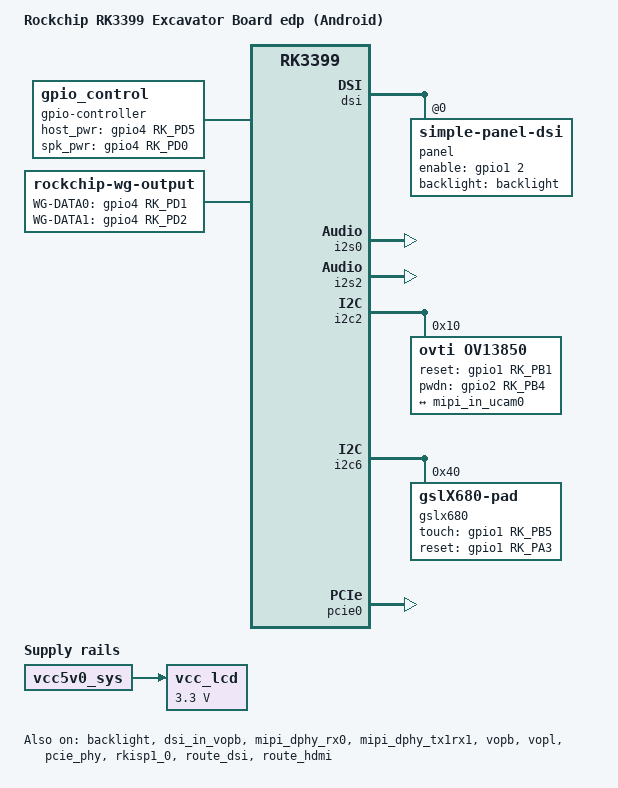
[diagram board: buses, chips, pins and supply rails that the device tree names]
/*
 * Copyright (c) 2018 Fuzhou Rockchip Electronics Co., Ltd
 *
 * This file is dual-licensed: you can use it either under the terms
 * of the GPL or the X11 license, at your option. Note that this dual
 * licensing only applies to this file, and not this project as a
 * whole.
 *
 *  a) This file is free software; you can redistribute it and/or
 *     modify it under the terms of the GNU General Public License as
 *     published by the Free Software Foundation; either version 2 of the
 *     License, or (at your option) any later version.
 *
 *     This file is distributed in the hope that it will be useful,
 *     but WITHOUT ANY WARRANTY; without even the implied warranty of
 *     MERCHANTABILITY or FITNESS FOR A PARTICULAR PURPOSE.  See the
 *     GNU General Public License for more details.
 *
 * Or, alternatively,
 *
 *  b) Permission is hereby granted, free of charge, to any person
 *     obtaining a copy of this software and associated documentation
 *     files (the "Software"), to deal in the Software without
 *     restriction, including without limitation the rights to use,
 *     copy, modify, merge, publish, distribute, sublicense, and/or
 *     sell copies of the Software, and to permit persons to whom the
 *     Software is furnished to do so, subject to the following
 *     conditions:
 *
 *     The above copyright notice and this permission notice shall be
 *     included in all copies or substantial portions of the Software.
 *
 *     THE SOFTWARE IS PROVIDED "AS IS", WITHOUT WARRANTY OF ANY KIND,
 *     EXPRESS OR IMPLIED, INCLUDING BUT NOT LIMITED TO THE WARRANTIES
 *     OF MERCHANTABILITY, FITNESS FOR A PARTICULAR PURPOSE AND
 *     NONINFRINGEMENT. IN NO EVENT SHALL THE AUTHORS OR COPYRIGHT
 *     HOLDERS BE LIABLE FOR ANY CLAIM, DAMAGES OR OTHER LIABILITY,
 *     WHETHER IN AN ACTION OF CONTRACT, TORT OR OTHERWISE, ARISING
 *     FROM, OUT OF OR IN CONNECTION WITH THE SOFTWARE OR THE USE OR
 *     OTHER DEALINGS IN THE SOFTWARE.
 */

/dts-v1/;

#include "rk3399-excavator-sapphire.dtsi"
#include "rk3399-android.dtsi"
#include "rk3399-vop-clk-set.dtsi"

/ {

	model = "Rockchip RK3399 Excavator Board edp (Android)";
	compatible = "rockchip,android", "rockchip,rk3399-excavator-edp", "rockchip,rk3399";

	vcc_lcd: vcc-lcd {
		compatible = "regulator-fixed";
		regulator-name = "vcc_lcd";
		//gpio = <&gpio1 2 GPIO_ACTIVE_HIGH>;		//GPIO1_A2
		startup-delay-us = <20000>;
		enable-active-high;
		regulator-min-microvolt = <3300000>;
		regulator-max-microvolt = <3300000>;
		regulator-boot-on;
		vin-supply = <&vcc5v0_sys>;
	};

	test-power {
		status = "okay";
	};

	gpio-controller {
		compatible = "gpio_control";
		pinctrl-names = "default";
		pinctrl-0 = <&gpio_contrl>;		
		host_pwr = <&gpio4 RK_PD5 GPIO_ACTIVE_HIGH>;			//Host power
		spk_pwr = <&gpio4 RK_PD0 GPIO_ACTIVE_HIGH>;			//spk power
				
		status = "okay";
	};

 rockchip-wg-output {
 		compatible = "rockchip-wg-output";
 		pinctrl-names = "default";
 		WG-DATA0 = <&gpio4 RK_PD1 GPIO_ACTIVE_HIGH>;
 		WG-DATA1 = <&gpio4 RK_PD2 GPIO_ACTIVE_HIGH>;
 		status = "okay";
 	};	
/*
 rockchip-wg-input {
 		compatible = "rockchip-wiegand-input";
 		pinctrl-names = "default";
 		wg-in-data0 = <&gpio5 RK_PB4 GPIO_ACTIVE_HIGH>; //GPIO5_B4
 		wg-in-data1 = <&gpio5 RK_PB5 GPIO_ACTIVE_HIGH>; //GPIO5_B5
 		status = "okay";
 	};	
*/		
/*	
	clocks {
		osc26m: clk@1 {
			compatible = "fixed-clock";
			reg = <1>;
			#clock-cells = <0>;
			clock-frequency = <26000000>;		//26MHz		//<20000000>;		//20MHz
			clock-output-names = "osc26m";
		};
	};
*/	
		
};


&dsi {
	status = "okay";
	rockchip,lane-rate = <250>;
	panel@0 {
		compatible ="simple-panel-dsi";
		reg = <0>;
		backlight = <&backlight>;
		enable-gpios = <&gpio1 2 GPIO_ACTIVE_HIGH>;		//GPIO1_A2

		dsi,flags = <(MIPI_DSI_MODE_VIDEO | MIPI_DSI_MODE_VIDEO_BURST | MIPI_DSI_MODE_LPM | MIPI_DSI_MODE_EOT_PACKET)>;	
		dsi,format = <MIPI_DSI_FMT_RGB888>;
		dsi,lanes = <2>;

    reset-delay-ms = <120>;
    init-delay-ms = <120>;
    enable-delay-ms = <120>;
    prepare-delay-ms = <120>;

   panel-init-sequence = [
     	05 05 01 01
 	
      23 05 02 7a c1
      23 05 02 20 e0
      23 05 02 21 10
      23 05 02 22 11
      23 05 02 23 02
      23 05 02 24 01
      23 05 02 25 2b
      23 05 02 26 00
      23 05 02 27 01
      23 05 02 28 01
      23 05 02 29 0c    
      23 05 02 34 80
      23 05 02 36 02
      23 05 02 86 29      
      23 05 02 b5 a0
      23 05 02 5c ff  
      23 05 02 2a 01
//      23 05 02 2a 49	//test rgb colour         
//      23 05 02 14 43	//test rgb colour             
      23 05 02 56 92
      23 05 02 6b 61
      23 05 02 69 0a
      23 05 02 10 45		//45:BGR	40:RGB
      23 05 02 11 88
      23 05 02 b6 20
      23 05 02 51 20
      23 05 02 09 10
     
      05 78 01 11
      05 78 01 29
    ];

    panel-exit-sequence = [
      05 14 01 28
      05 50 01 10
    ];

		display-timings {
			native-mode = <&timing0>;

			timing0: timing0 {
			
			  //for 4.3 inch mipi lcd
				clock-frequency = <17000000>;
        hactive = <480>;
        vactive = <272>;

        hfront-porch = <2>;
        hsync-len = <2>;
        hback-porch = <140>;

        vfront-porch = <20>;	//<2>;
        vsync-len = <2>;
        vback-porch = <27>;
 /*       
        hfront-porch = <2>;
        hsync-len = <1>;
        hback-porch = <43>;

        vfront-porch = <1>;
        vsync-len = <1>;
        vback-porch = <12>;        
*/
        hsync-active = <0>;
        vsync-active = <0>;
        de-active = <0>;
        pixelclk-active = <0>;						
									
			};				
			
		};
/*
		ports {
			#address-cells = <1>;
			#size-cells = <0>;

			port@0 {
				reg = <0>;
				panel_in_dsi: endpoint {
					remote-endpoint = <&dsi_out_panel>;
				};
			};
		};
*/		
	};
/*
	ports {
		#address-cells = <1>;
		#size-cells = <0>;

		port@1 {
			reg = <1>;
			dsi_out_panel: endpoint {
				remote-endpoint = <&panel_in_dsi>;
			};
		};
	};
*/	
	
};



&backlight {
	status = "okay";
};

&dsi_in_vopl {
	status = "disabled";
};

&dsi_in_vopb {
	status = "okay";
};

&hdmi_in_vopb {
	status = "disabled";
};

&dp_sound {
	status = "disabled";	//"okay";	//
};

&hdmi_dp_sound {
	status = "disabled";	//"okay";	//
};

&i2s0 {
	status = "okay";
	rockchip,playback-channels = <8>;
	rockchip,capture-channels = <8>;
	#sound-dai-cells = <0>;
};

&i2s2 {
	status = "okay";
};

&hdmi_sound {
	status = "disabled";	//"okay";
};

//&cdn_dp {
//	status = "disabled";	//"okay";
//	extcon = <&fusb0>;
//	phys = <&tcphy0_dp>;
//};

&dp_in_vopb {
	status = "disabled";
};

&i2c4 {
	status = "disabled";		//"okay";

	gc2145: gc2145@3c{
		status = "disabled";	//"okay";
		compatible = "galaxycore,gc2145";
		reg = <0x3c>;
		pinctrl-names = "default";
		pinctrl-0 = <&cif_clkout>;

		clocks = <&cru SCLK_CIF_OUT>;
		clock-names = "xvclk";

		/* avdd-supply = <>; */
		/* dvdd-supply = <>; */
		/* dovdd-supply = <>; */
		pwdn-gpios = <&gpio2 28 GPIO_ACTIVE_HIGH>;	//ok
		rockchip,camera-module-index = <1>;
		rockchip,camera-module-facing = "front";
		rockchip,camera-module-name = "CameraKing";
		rockchip,camera-module-lens-name = "Largan";
		port {
			gc2145_out: endpoint {
				remote-endpoint = <&dvp_in_fcam>;
			};
		};
	};

};

&i2c2 {
	status = "okay";
	
	vm149c: vm149c@0c {
		compatible = "silicon touch,vm149c";
		status = "disabled";		//"okay";
		reg = <0x0c>;
		rockchip,camera-module-index = <0>;
		rockchip,camera-module-facing = "back";
	};
	
	ov13850: ov13850@10 {
		compatible = "ovti,ov13850";
		status = "okay";
		reg = <0x10>;
		clocks = <&cru SCLK_CIF_OUT>;
		clock-names = "xvclk";
		/* avdd-supply = <>; */
		/* dvdd-supply = <>; */
		/* dovdd-supply = <>; */
		/* reset-gpios = <>; */
		reset-gpios = <&gpio1 RK_PB1 GPIO_ACTIVE_HIGH>; 
		pwdn-gpios = <&gpio2 RK_PB4 GPIO_ACTIVE_HIGH>;
		pinctrl-names = "rockchip,camera_default";
		pinctrl-0 = <&cif_clkout &csi_pins>;
		//pinctrl-0 = <&cif_clkout>;
		rockchip,camera-module-index = <0>;
		rockchip,camera-module-facing = "back";
		rockchip,camera-module-name = "CMK-CT0116";
		rockchip,camera-module-lens-name = "Largan-50013A1";
		lens-focus = <&vm149c>;
		port {
			ucam_out0: endpoint {
				remote-endpoint = <&mipi_in_ucam0>;
				//remote-endpoint = <&mipi_in_ucam1>;
				data-lanes = <1 2>;
			};
		};
	};


	
};


&i2c6 {
	status = "okay";
	
	//clock-frequency = <400000>;
	//i2c-scl-rising-time-ns = <138>;
	//i2c-scl-falling-time-ns = <4>;	

/*
	gt9xx: gt9xx@01 {
		compatible = "goodix,gt9xx";
		reg = <0x5d>;
		pinctrl-names = "default";
		pinctrl-0 = <&touch_gpio>;
		touch-gpio = <&gpio1 RK_PA2 IRQ_TYPE_LEVEL_LOW>;
		reset-gpio = <&gpio1 RK_PC6 GPIO_ACTIVE_LOW>;
		max-x = <1280>;
		max-y = <800>;
		tp-size = <89>;
		//tp-supply = <&vcc_3v3>;
	};
*/	

/*
	gslx680: gslx680@40 {
		status = "okay";
		compatible = "gslX680";
		reg = <0x40>;
		pinctrl-names = "default";
		pinctrl-0 = <&touch_gpio>;		
		screen_max_x = <480>;
		screen_max_y = <272>;
		touch-gpio = <&gpio1 RK_PB5 IRQ_TYPE_LEVEL_LOW>;
		reset-gpio = <&gpio1 RK_PA3 GPIO_ACTIVE_HIGH>;
		flip-x = <0>;
		flip-y = <0>;
		swap-xy = <0>;				
		gsl,fw = <1>;	
	};
*/

	gslx680: gslx680@40 {
		status = "okay";
		compatible = "gslX680-pad";
		reg = <0x40>;
		pinctrl-names = "default";
		pinctrl-0 = <&touch_gpio>;		
		screen_max_x = <480>;
		screen_max_y = <272>;
		touch-gpio = <&gpio1 RK_PB5 IRQ_TYPE_LEVEL_HIGH>;
		reset-gpio = <&gpio1 RK_PA3 GPIO_ACTIVE_HIGH>;
		revert_x = <0>;
		revert_y = <0>;
		revert_xy = <0>;				
		chip_id = <0>;
	};
	
	
};	


&isp0_mmu {
	status = "okay";
};

&isp1_mmu {
	status = "okay";
};

&mipi_dphy_rx0 {
	status = "okay";	//"disabled";

	ports {
		#address-cells = <1>;
		#size-cells = <0>;

		port@0 {
			reg = <0>;
			#address-cells = <1>;
			#size-cells = <0>;

			mipi_in_ucam0: endpoint@1 {
				reg = <1>;
				remote-endpoint = <&ucam_out0>;
				data-lanes = <1 2>;	//<1 2 3 4>;		//
			};
		};

		port@1 {
			reg = <1>;
			#address-cells = <1>;
			#size-cells = <0>;

			dphy_rx0_out: endpoint@0 {
				reg = <0>;
				remote-endpoint = <&isp0_mipi_in>;
			};
		};
	};
};

&mipi_dphy_tx1rx1 {
	status = "okay";		//"disabled";

	ports {
		#address-cells = <1>;
		#size-cells = <0>;

		port@0 {
			reg = <0>;
			#address-cells = <1>;
			#size-cells = <0>;

			mipi_in_ucam1: endpoint@1 {
				reg = <1>;
				//remote-endpoint = <&ucam_out1>;
				data-lanes = <1 2>;
			};
		};

		port@1 {
			reg = <1>;
			#address-cells = <1>;
			#size-cells = <0>;

			dphy_tx1rx1_out: endpoint@0 {
				reg = <0>;
				remote-endpoint = <&isp1_mipi_in>;
			};
		};
	};
};

&vopb {
	status = "okay";
	assigned-clocks = <&cru DCLK_VOP0_DIV>;
	assigned-clock-parents = <&cru PLL_CPLL>;
};

&vopl {
	status = "okay";
	assigned-clocks = <&cru DCLK_VOP1_DIV>;
	assigned-clock-parents = <&cru PLL_VPLL>;
};

&pcie_phy {
	status = "okay";
};

&pcie0 {
	status = "okay";
};

&rkisp1_0 {
	status = "okay";		//"disabled";

	port {
		#address-cells = <1>;
		#size-cells = <0>;

		isp0_mipi_in: endpoint@0 {
			reg = <0>;
			remote-endpoint = <&dphy_rx0_out>;
		};
	};
};

&rkisp1_1 {
	status = "disabled";

	port {
		#address-cells = <1>;
		#size-cells = <0>;

		isp1_mipi_in: endpoint@0 {
			reg = <0>;
			remote-endpoint = <&dphy_tx1rx1_out>;
		};
		dvp_in_fcam: endpoint@1 {
			reg = <1>;
			remote-endpoint = <&gc2145_out>;
		};
	};
};

&route_dsi {
	status = "okay";
	connect = <&vopb_out_dsi>;
};

&route_hdmi {
	status = "okay";
	connect = <&vopl_out_hdmi>;
};

&pinctrl {

	gpio-contrl {
		gpio_contrl:gpio-ctl {
			rockchip,pins =
				<4 RK_PC5 RK_FUNC_GPIO &pcfg_pull_up>,	
				<4 RK_PC6 RK_FUNC_GPIO &pcfg_pull_up>,						
				<4 RK_PD5 RK_FUNC_GPIO &pcfg_pull_up>,
				<4 RK_PD0 RK_FUNC_GPIO &pcfg_pull_up>;		
		};
	};
	
	ov13850-csi {
		csi_pins: csi-pins {
			rockchip,pins =
				<1 RK_PB1 RK_FUNC_GPIO &pcfg_pull_up>,
				<2 RK_PB4 RK_FUNC_GPIO &pcfg_pull_up>;
		};
	};

	lcd-panel {
		lcd_panel_reset: lcd-panel-reset {
			rockchip,pins = <4 RK_PD6 RK_FUNC_GPIO &pcfg_pull_up>;
		};
	};

	touch {
		touch_gpio: touch-gpio {
			rockchip,pins =
				<1 RK_PB5 RK_FUNC_GPIO &pcfg_pull_up>,
				<1 RK_PA3 RK_FUNC_GPIO &pcfg_pull_none>;
		};
	};

};
